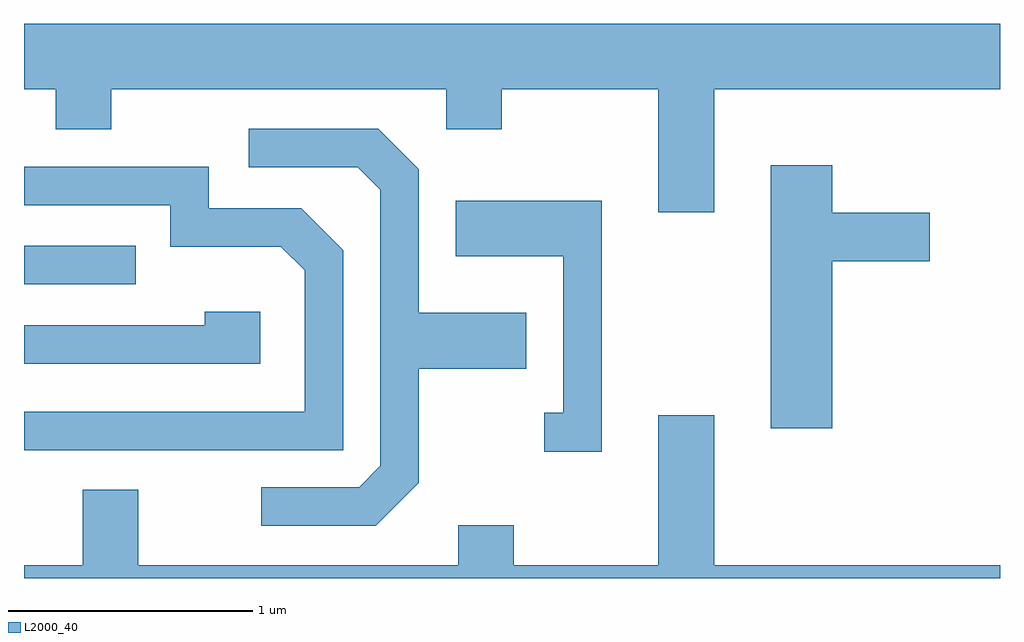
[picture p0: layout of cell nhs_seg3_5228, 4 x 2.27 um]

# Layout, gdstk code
import gdstk
lib = gdstk.Library(unit=1e-6, precision=1e-09)
def R(c, l, rs):  # rectangles x0, y0, x1, y1
    for r in rs: c.add(gdstk.rectangle(r[:2], r[2:], *l))
def P(c, l, *ps):  # polygons
    for p in ps: c.add(gdstk.Polygon(p, *l))
L2000_40 = (2000, 40)

nhs_seg3_5228 = lib.new_cell('nhs_seg3_5228')
R(nhs_seg3_5228, L2000_40, [(337.611,1245.096,338.068,1245.254)])
P(nhs_seg3_5228, L2000_40, [(340.439,1245.896),(341.611,1245.896),(341.611,1246.164),(337.611,1246.164),(337.611,1245.896),(337.741,1245.896),(337.741,1245.731),(337.969,1245.731),(337.969,1245.896),(339.341,1245.896),(339.341,1245.731),(339.569,1245.731),(339.569,1245.896),(340.211,1245.896),(340.211,1245.391),(340.439,1245.391)],
  [(339.229,1244.284),(339.229,1244.751),(339.669,1244.751),(339.669,1244.979),(339.229,1244.979),(339.229,1245.567),(339.062,1245.734),(338.533,1245.734),(338.533,1245.576),(338.979,1245.576),(339.071,1245.484),(339.071,1244.352),(338.984,1244.264),(338.583,1244.264),(338.583,1244.106),(339.052,1244.106)],
  [(340.924,1245.191),(341.324,1245.191),(341.324,1245.389),(340.924,1245.389),(340.924,1245.584),(340.671,1245.584),(340.671,1244.506),(340.924,1244.506)],
  [(338.919,1245.237),(338.747,1245.409),(338.369,1245.409),(338.369,1245.579),(337.611,1245.579),(337.611,1245.421),(338.211,1245.421),(338.211,1245.251),(338.664,1245.251),(338.761,1245.154),(338.761,1244.574),(337.611,1244.574),(337.611,1244.416),(338.919,1244.416)],
  [(339.979,1245.439),(339.381,1245.439),(339.381,1245.211),(339.821,1245.211),(339.821,1244.569),(339.743,1244.569),(339.743,1244.411),(339.979,1244.411)],
  [(338.579,1244.984),(338.351,1244.984),(338.351,1244.929),(337.611,1244.929),(337.611,1244.771),(338.579,1244.771)],
  [(341.611,1243.944),(340.439,1243.944),(340.439,1244.559),(340.211,1244.559),(340.211,1243.944),(339.619,1243.944),(339.619,1244.109),(339.391,1244.109),(339.391,1243.944),(338.079,1243.944),(338.079,1244.254),(337.851,1244.254),(337.851,1243.944),(337.611,1243.944),(337.611,1243.892),(341.611,1243.892)])

lib.write_gds('nhs_seg3_5228.gds')
